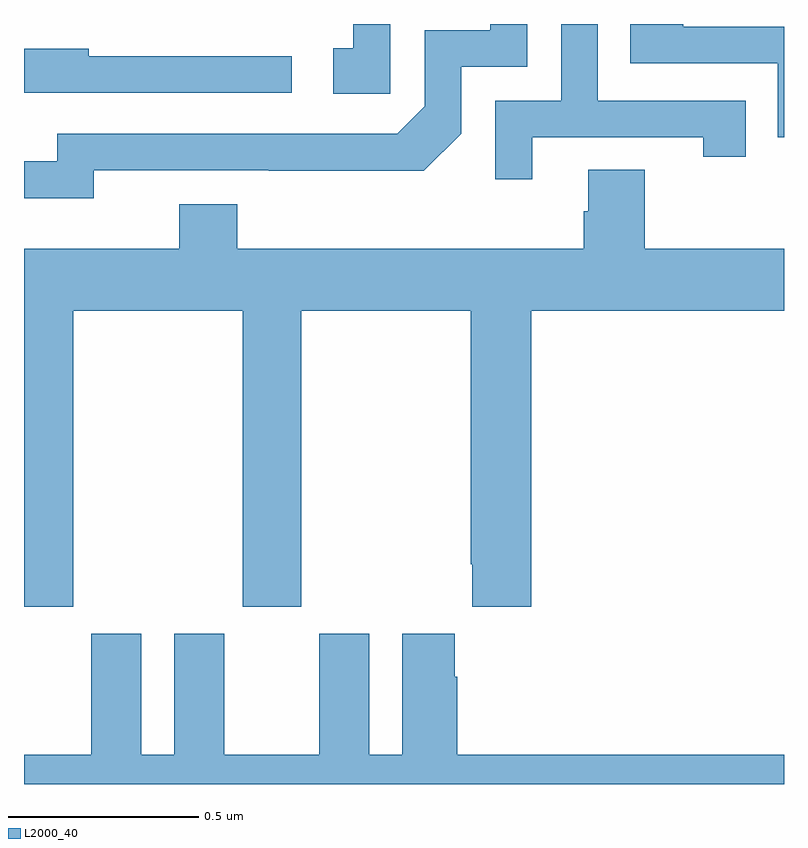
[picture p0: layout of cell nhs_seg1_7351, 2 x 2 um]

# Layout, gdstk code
import gdstk
lib = gdstk.Library(unit=1e-6, precision=1e-09)
def P(c, l, *ps):  # polygons
    for p in ps: c.add(gdstk.Polygon(p, *l))
L2000_40 = (2000, 40)

nhs_seg1_7351 = lib.new_cell('nhs_seg1_7351')
P(nhs_seg1_7351, L2000_40, [(203.184,506.814),(203.644,506.814),(203.644,506.813),(204.052,506.813),(204.15,506.91),(204.15,507.087),(204.324,507.087),(204.324,507.199),(204.227,507.199),(204.227,507.183),(204.054,507.183),(204.054,506.982),(203.982,506.91),(203.088,506.91),(203.088,506.838),(203,506.838),(203,506.741),(203.184,506.741)],
  [(203.964,507.199),(203.867,507.199),(203.867,507.135),(203.814,507.135),(203.814,507.015),(203.964,507.015)],
  [(204.337,506.901),(204.788,506.901),(204.788,506.85),(204.899,506.85),(204.899,506.997),(204.51,506.997),(204.51,507.199),(204.414,507.199),(204.414,506.997),(204.24,506.997),(204.24,506.79),(204.337,506.79)],
  [(205,507.192),(204.735,507.192),(204.735,507.199),(204.595,507.199),(204.595,507.096),(204.984,507.096),(204.984,506.901),(205,506.901)],
  [(203.704,507.114),(203.171,507.114),(203.171,507.134),(203,507.134),(203,507.018),(203.704,507.018)],
  [(203.13,506.444),(203.575,506.444),(203.575,505.665),(203.73,505.665),(203.73,506.444),(204.175,506.444),(204.175,505.777),(204.179,505.777),(204.179,505.665),(204.335,505.665),(204.335,506.444),(205,506.444),(205,506.608),(204.633,506.608),(204.633,506.816),(204.485,506.816),(204.485,506.706),(204.473,506.706),(204.473,506.608),(203.561,506.608),(203.561,506.725),(203.408,506.725),(203.408,506.608),(203,506.608),(203,505.665),(203.13,505.665)],
  [(205,505.276),(204.14,505.276),(204.14,505.481),(204.133,505.481),(204.133,505.594),(203.996,505.594),(203.996,505.276),(203.908,505.276),(203.908,505.594),(203.777,505.594),(203.777,505.276),(203.527,505.276),(203.527,505.594),(203.396,505.594),(203.396,505.276),(203.308,505.276),(203.308,505.594),(203.177,505.594),(203.177,505.276),(203,505.276),(203,505.199),(205,505.199)])

lib.write_gds('nhs_seg1_7351.gds')
